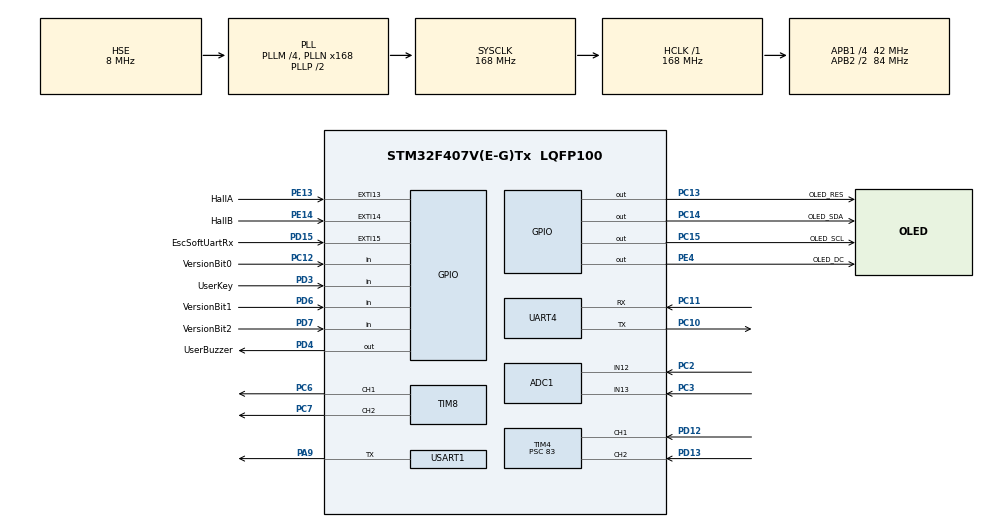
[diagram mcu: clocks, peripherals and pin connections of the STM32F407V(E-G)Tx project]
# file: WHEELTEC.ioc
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ADC1.Channel-0\#ChannelRegularConversion=ADC_CHANNEL_12
ADC1.Channel-1\#ChannelRegularConversion=ADC_CHANNEL_13
ADC1.ClockPrescaler=ADC_CLOCK_SYNC_PCLK_DIV6
ADC1.ContinuousConvMode=ENABLE
ADC1.DMAContinuousRequests=ENABLE
ADC1.NbrOfConversion=2
ADC1.NbrOfConversionFlag=1
ADC1.Rank-0\#ChannelRegularConversion=1
ADC1.Rank-1\#ChannelRegularConversion=2
ADC1.SamplingTime-0\#ChannelRegularConversion=ADC_SAMPLETIME_480CYCLES
ADC1.SamplingTime-1\#ChannelRegularConversion=ADC_SAMPLETIME_480CYCLES
ADC1.ScanConvMode=ENABLE
ADC1.master=1
Dma.ADC1.0.Direction=DMA_PERIPH_TO_MEMORY
Dma.ADC1.0.FIFOMode=DMA_FIFOMODE_DISABLE
Dma.ADC1.0.Instance=DMA2_Stream0
Dma.ADC1.0.MemDataAlignment=DMA_MDATAALIGN_HALFWORD
Dma.ADC1.0.MemInc=DMA_MINC_ENABLE
Dma.ADC1.0.Mode=DMA_CIRCULAR
Dma.ADC1.0.PeriphDataAlignment=DMA_PDATAALIGN_HALFWORD
Dma.ADC1.0.PeriphInc=DMA_PINC_DISABLE
Dma.ADC1.0.Priority=DMA_PRIORITY_LOW
Dma.Request0=ADC1
Dma.Request1=UART4_TX
Dma.Request2=USART1_TX
Dma.UART4_TX.1.Direction=DMA_MEMORY_TO_PERIPH
Dma.UART4_TX.1.FIFOMode=DMA_FIFOMODE_DISABLE
Dma.UART4_TX.1.Instance=DMA1_Stream4
Dma.UART4_TX.1.MemDataAlignment=DMA_MDATAALIGN_BYTE
Dma.UART4_TX.1.MemInc=DMA_MINC_ENABLE
Dma.UART4_TX.1.Mode=DMA_NORMAL
Dma.UART4_TX.1.PeriphDataAlignment=DMA_PDATAALIGN_BYTE
Dma.UART4_TX.1.PeriphInc=DMA_PINC_DISABLE
Dma.UART4_TX.1.Priority=DMA_PRIORITY_LOW
Dma.USART1_TX.2.Direction=DMA_MEMORY_TO_PERIPH
Dma.USART1_TX.2.FIFOMode=DMA_FIFOMODE_DISABLE
Dma.USART1_TX.2.Instance=DMA2_Stream7
Dma.USART1_TX.2.MemDataAlignment=DMA_MDATAALIGN_BYTE
Dma.USART1_TX.2.MemInc=DMA_MINC_ENABLE
Dma.USART1_TX.2.Mode=DMA_NORMAL
Dma.USART1_TX.2.PeriphDataAlignment=DMA_PDATAALIGN_BYTE
Dma.USART1_TX.2.PeriphInc=DMA_PINC_DISABLE
Dma.USART1_TX.2.Priority=DMA_PRIORITY_LOW
FREERTOS.Tasks01=InitTask,32,128,StartInitTask,Default,NULL,Dynamic,NULL,NULL
FREERTOS.configCHECK_FOR_STACK_OVERFLOW=2
FREERTOS.configENABLE_FPU=1
FREERTOS.configGENERATE_RUN_TIME_STATS=1
FREERTOS.configTOTAL_HEAP_SIZE=51200
FREERTOS.configUSE_DAEMON_TASK_STARTUP_HOOK=0
FREERTOS.configUSE_IDLE_HOOK=1
FREERTOS.configUSE_MALLOC_FAILED_HOOK=1
FREERTOS.configUSE_STATS_FORMATTING_FUNCTIONS=1
Mcu.Family=STM32F4
Mcu.Name=STM32F407V(E-G)Tx
Mcu.Package=LQFP100
NVIC.DMA1_Stream4_IRQn=true\:5\:0\:false\:false\:true\:true\:false\:true\:true
NVIC.DMA2_Stream0_IRQn=true\:5\:0\:false\:false\:true\:true\:false\:true\:true
NVIC.DMA2_Stream7_IRQn=true\:5\:0\:false\:false\:true\:true\:false\:true\:true
NVIC.EXTI15_10_IRQn=true\:4\:0\:false\:false\:true\:true\:true\:true\:true
NVIC.PriorityGroup=NVIC_PRIORITYGROUP_4
NVIC.TIM4_IRQn=true\:5\:0\:false\:false\:true\:true\:true\:true\:true
NVIC.TIM5_IRQn=true\:3\:0\:false\:false\:true\:true\:true\:true\:true
NVIC.TIM7_IRQn=true\:15\:0\:true\:false\:true\:false\:false\:true\:true
NVIC.TimeBase=TIM7_IRQn
NVIC.TimeBaseIP=TIM7
NVIC.UART4_IRQn=true\:5\:0\:false\:false\:true\:true\:true\:true\:true
NVIC.USART1_IRQn=true\:5\:0\:false\:false\:true\:true\:true\:true\:true
PA13.Mode=Serial_Wire
PA13.Signal=SYS_JTMS-SWDIO
PA14.Mode=Serial_Wire
PA14.Signal=SYS_JTCK-SWCLK
PA9.Mode=Asynchronous
PA9.Signal=USART1_TX
PC10.Mode=Asynchronous
PC10.Signal=UART4_TX
PC11.Mode=Asynchronous
PC11.Signal=UART4_RX
PC12.GPIO_Label=VersionBit0
PC12.GPIO_PuPd=GPIO_PULLUP
PC12.Signal=GPIO_Input
PC13-ANTI_TAMP.GPIO_Label=OLED_RES
PC13-ANTI_TAMP.Signal=GPIO_Output
PC14-OSC32_IN.GPIO_Label=OLED_SDA
PC14-OSC32_IN.Signal=GPIO_Output
PC15-OSC32_OUT.GPIO_Label=OLED_SCL
PC15-OSC32_OUT.Signal=GPIO_Output
PC2.Signal=ADCx_IN12
PC3.Signal=ADCx_IN13
PC6.Signal=S_TIM8_CH1
PC7.Signal=S_TIM8_CH2
PD12.Signal=S_TIM4_CH1
PD13.Signal=S_TIM4_CH2
PD15.GPIO_Label=EscSoftUartRx
PD15.GPIO_Mode=GPIO_MODE_IT_FALLING
PD15.GPIO_PuPd=GPIO_PULLUP
PD15.Signal=GPIO_EXTI15
PD3.GPIO_Label=UserKey
PD3.GPIO_PuPd=GPIO_PULLUP
PD3.Signal=GPIO_Input
PD4.GPIO_Label=UserBuzzer
PD4.PinState=GPIO_PIN_RESET
PD4.Signal=GPIO_Output
PD6.GPIO_Label=VersionBit1
PD6.GPIO_PuPd=GPIO_PULLUP
PD6.Signal=GPIO_Input
PD7.GPIO_Label=VersionBit2
PD7.GPIO_PuPd=GPIO_PULLUP
PD7.Signal=GPIO_Input
PE4.GPIO_Label=OLED_DC
PE4.Signal=GPIO_Output
PE13.GPIO_Label=HallA
PE13.GPIO_Mode=GPIO_MODE_IT_FALLING
PE13.GPIO_PuPd=GPIO_PULLUP
PE13.Signal=GPIO_EXTI13
PE14.GPIO_Label=HallB
PE14.GPIO_Mode=GPIO_MODE_IT_FALLING
PE14.GPIO_PuPd=GPIO_PULLUP
PE14.Signal=GPIO_EXTI14
PH0-OSC_IN.Mode=HSE-External-Oscillator
PH0-OSC_IN.Signal=RCC_OSC_IN
PH1-OSC_OUT.Mode=HSE-External-Oscillator
PH1-OSC_OUT.Signal=RCC_OSC_OUT
ProjectManager.HeapSize=0x200
ProjectManager.StackSize=0x400
ProjectManager.TargetToolchain=MDK-ARM V5.32
RCC.48MHZClocksFreq_Value=48000000
RCC.AHBFreq_Value=168000000
RCC.APB1CLKDivider=RCC_HCLK_DIV4
RCC.APB1Freq_Value=42000000
RCC.APB1TimFreq_Value=84000000
RCC.APB2CLKDivider=RCC_HCLK_DIV2
RCC.APB2Freq_Value=84000000
RCC.APB2TimFreq_Value=168000000
RCC.CortexFreq_Value=168000000
RCC.HCLKFreq_Value=168000000
RCC.HSE_VALUE=8000000
RCC.HSI_VALUE=16000000
RCC.LSE_VALUE=32768
RCC.PLLM=4
RCC.PLLN=168
RCC.PLLQ=7
RCC.SYSCLKFreq_VALUE=168000000
RCC.SYSCLKSource=RCC_SYSCLKSOURCE_PLLCLK
RCC.VCOOutputFreq_Value=336000000
SH.ADCx_IN12.0=ADC1_IN12,IN12
SH.ADCx_IN13.0=ADC1_IN13,IN13
SH.S_TIM4_CH1.0=TIM4_CH1,Input_Capture1_from_TI1
SH.S_TIM4_CH2.0=TIM4_CH2,Input_Capture2_from_TI2
SH.S_TIM8_CH1.0=TIM8_CH1,PWM Generation1 CH1
SH.S_TIM8_CH2.0=TIM8_CH2,PWM Generation2 CH2
TIM4.Channel-Input_Capture1_from_TI1=TIM_CHANNEL_1
TIM4.Channel-Input_Capture2_from_TI2=TIM_CHANNEL_2
TIM4.Period=9999
TIM4.Prescaler=83
TIM6.Prescaler=839
TIM8.Channel-PWM\ Generation1\ CH1=TIM_CHANNEL_1
TIM8.Channel-PWM\ Generation2\ CH2=TIM_CHANNEL_2
UART4.VirtualMode=Asynchronous
USART1.VirtualMode=VM_ASYNC
VP_FREERTOS_VS_CMSIS_V2.Mode=CMSIS_V2
VP_SYS_VS_tim7.Mode=TIM7
VP_TIM4_VS_ClockSourceINT.Mode=Internal
VP_TIM6_VS_ClockSourceINT.Mode=Enable_Timer
VP_TIM8_VS_ClockSourceINT.Mode=Internal
board=custom

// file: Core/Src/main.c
/* USER CODE BEGIN Header */
/**
  ******************************************************************************
  * @file           : main.c
  * @brief          : Main program body
  ******************************************************************************
  * @attention
  *
  * Copyright (c) 2025 STMicroelectronics.
  * All rights reserved.
  *
  * This software is licensed under terms that can be found in the LICENSE file
  * in the root directory of this software component.
  * If no LICENSE file comes with this software, it is provided AS-IS.
  *
  ******************************************************************************
  */
/* USER CODE END Header */
#include "main.h"
#include "cmsis_os.h"
#include "adc.h"
#include "dma.h"
#include "tim.h"
#include "usart.h"
#include "gpio.h"

/* USER CODE BEGIN Includes */
#include <errno.h>
#include <stdio.h>

#include "bsp_oled.h"
#include "bsp_dwt.h"
#include "bsp_adc.h"

#include "esc_telemetry_stm32.h"
#include "hall_speed.h"
#include "servo_basic_control.h"

/* USER CODE END Includes */

/* USER CODE BEGIN PV */

uint8_t rosbuffer = 0;

DebugType_t g_sys_debug = { 0 };
/* USER CODE END PV */

void SystemClock_Config(void);
void MX_FREERTOS_Init(void);
/* USER CODE BEGIN PFP */
static void App_InitRuntimeServices(void);
static pOLEDInterface_t App_InitDisplay(void);
static void App_DetectHardwareVersion(pOLEDInterface_t oled);
static void App_HandleUnknownHardware(pOLEDInterface_t oled);
static void App_StartInputInterrupts(void);

/* USER CODE END PFP */

/* USER CODE BEGIN 0 */
static void App_InitRuntimeServices(void)
{
  EscTelemetryStm32_Init();
  ServoBasic_Init();
  DWT_Init();
  HallSpeed_Init();
  ADC_Userconfig_Init();
  HAL_TIM_Base_Start(&htim6);
}

static pOLEDInterface_t App_InitDisplay(void)
{
  pOLEDInterface_t oled = &UserOLED;
  oled->init();
  return oled;
}

static void App_DetectHardwareVersion(pOLEDInterface_t oled)
{
  uint8_t version = 0U;

  version |= (uint8_t)(HAL_GPIO_ReadPin(VersionBit2_GPIO_Port, VersionBit2_Pin) << 2);
  version |= (uint8_t)(HAL_GPIO_ReadPin(VersionBit1_GPIO_Port, VersionBit1_Pin) << 1);
  version |= (uint8_t)(HAL_GPIO_ReadPin(VersionBit0_GPIO_Port, VersionBit0_Pin) << 0);

  if (version == 0U || version == 7U)
  {
    return;
  }

  App_HandleUnknownHardware(oled);
}

static void App_HandleUnknownHardware(pOLEDInterface_t oled)
{
  oled->ShowString(0, 0, "unknown hardware-version.");
  oled->ShowString(0, 35, "please reset and-retry.");
  oled->RefreshGram();

  for (;;)
  {
    HAL_GPIO_TogglePin(UserBuzzer_GPIO_Port, UserBuzzer_Pin);
    HAL_Delay(500);
  }
}

static void App_StartInputInterrupts(void)
{
  HAL_TIM_IC_Start_IT(&htim4, TIM_CHANNEL_1);
  HAL_TIM_IC_Start_IT(&htim4, TIM_CHANNEL_2);

  HAL_UART_Receive_IT(&huart4, &rosbuffer, 1);
  (void)EscTelemetryStm32_Start();
}

/* USER CODE END 0 */

int main(void)
{

  /* MCU Configuration--------------------------------------------------------*/

  /* Reset of all peripherals, Initializes the Flash interface and the Systick. */
  HAL_Init();

  /* Configure the system clock */
  SystemClock_Config();

  /* Initialize all configured peripherals */
  MX_GPIO_Init();
  MX_DMA_Init();
  MX_USART1_UART_Init();
  MX_UART4_Init();
  MX_TIM4_Init();
  MX_TIM6_Init();
  MX_ADC1_Init();
  MX_TIM8_Init();
  /* USER CODE BEGIN 2 */
  pOLEDInterface_t oled = NULL;

  App_InitRuntimeServices();
  oled = App_InitDisplay();
  App_DetectHardwareVersion(oled);
  App_StartInputInterrupts();

  /* USER CODE END 2 */

  /* Init scheduler */
  osKernelInitialize();  /* Call init function for freertos objects (in cmsis_os2.c) */
  MX_FREERTOS_Init();

  /* Start scheduler */
  osKernelStart();

  /* We should never get here as control is now taken by the scheduler */

  /* Infinite loop */
  while (1)
  {

  }
}

void SystemClock_Config(void)
{
  RCC_OscInitTypeDef RCC_OscInitStruct = {0};
  RCC_ClkInitTypeDef RCC_ClkInitStruct = {0};

  /** Configure the main internal regulator output voltage
  */
  __HAL_RCC_PWR_CLK_ENABLE();
  __HAL_PWR_VOLTAGESCALING_CONFIG(PWR_REGULATOR_VOLTAGE_SCALE1);

  /** Initializes the RCC Oscillators according to the specified parameters
  * in the RCC_OscInitTypeDef structure.
  */
  RCC_OscInitStruct.OscillatorType = RCC_OSCILLATORTYPE_HSE;
  RCC_OscInitStruct.HSEState = RCC_HSE_ON;
  RCC_OscInitStruct.PLL.PLLState = RCC_PLL_ON;
  RCC_OscInitStruct.PLL.PLLSource = RCC_PLLSOURCE_HSE;
  RCC_OscInitStruct.PLL.PLLM = 4;
  RCC_OscInitStruct.PLL.PLLN = 168;
  RCC_OscInitStruct.PLL.PLLP = RCC_PLLP_DIV2;
  RCC_OscInitStruct.PLL.PLLQ = 7;
  if (HAL_RCC_OscConfig(&RCC_OscInitStruct) != HAL_OK)
  {
    Error_Handler();
  }

  /** Initializes the CPU, AHB and APB buses clocks
  */
  RCC_ClkInitStruct.ClockType = RCC_CLOCKTYPE_HCLK|RCC_CLOCKTYPE_SYSCLK
                              |RCC_CLOCKTYPE_PCLK1|RCC_CLOCKTYPE_PCLK2;
  RCC_ClkInitStruct.SYSCLKSource = RCC_SYSCLKSOURCE_PLLCLK;
  RCC_ClkInitStruct.AHBCLKDivider = RCC_SYSCLK_DIV1;
  RCC_ClkInitStruct.APB1CLKDivider = RCC_HCLK_DIV4;
  RCC_ClkInitStruct.APB2CLKDivider = RCC_HCLK_DIV2;

  if (HAL_RCC_ClockConfig(&RCC_ClkInitStruct, FLASH_LATENCY_5) != HAL_OK)
  {
    Error_Handler();
  }
}

/* USER CODE BEGIN 4 */

UART_HandleTypeDef *DebugSerial = &huart1;

static int DebugSerial_Write(const uint8_t *data, size_t length)
{
  size_t written = 0U;

  if (data == NULL && length != 0U)
  {
    errno = EINVAL;
    return -1;
  }

  while (written < length)
  {
    size_t chunk = length - written;

    if (chunk > UINT16_MAX)
    {
      chunk = UINT16_MAX;
    }

    if (HAL_UART_Transmit(DebugSerial,
                          &data[written],
                          (uint16_t)chunk,
                          100U) != HAL_OK)
    {
      if (written == 0U)
      {
#ifdef EIO
        /* ARMCC 5 does not define the POSIX I/O error code. */
        errno = EIO;
#endif
        return -1;
      }
      break;
    }

    written += chunk;
  }

  return (int)written;
}

//printf鍑芥暟瀹炵幇
int fputc(int ch, FILE *stream)
{
  uint8_t byte = (uint8_t)ch;

  (void)stream;
  while (DebugSerial_Write(&byte, 1U) != 1)
  {
  }
  return ch;
}

#if defined(__GNUC__)
int _write(int fd, char *ptr, int len)
{
  if (fd != 1 && fd != 2)
  {
    errno = EBADF;
    return -1;
  }

  if (len < 0)
  {
    errno = EINVAL;
    return -1;
  }

  return DebugSerial_Write((const uint8_t *)ptr, (size_t)len);
}
#endif

/* USER CODE END 4 */

void HAL_TIM_PeriodElapsedCallback(TIM_HandleTypeDef *htim)
{
  if (htim->Instance == TIM7)
  {
    HAL_IncTick();
  }
}

void Error_Handler(void)
{
  __disable_irq();
  while (1)
  {
  }
}

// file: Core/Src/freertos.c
/* USER CODE BEGIN Header */
/**
  ******************************************************************************
  * File Name          : freertos.c
  * Description        : Minimal FreeRTOS application set for Ackermann-only control.
  ******************************************************************************
  */
/* USER CODE END Header */

#include "FreeRTOS.h"
#include "task.h"
#include "main.h"
#include "cmsis_os.h"

#include <stdio.h>

#include "queue.h"
#include "bsp_buzzer.h"
#include "esc_telemetry_stm32.h"
#include "servo_basic_task.h"

QueueHandle_t g_xQueueROSserial = NULL;
TaskHandle_t g_servoTaskHandle = NULL;

osThreadId_t InitTaskHandle;
const osThreadAttr_t InitTask_attributes = {
  .name = "InitTask",
  .stack_size = 128 * 4,
  .priority = (osPriority_t) osPriorityAboveNormal,
};

void show_task(void* param);
void SerialControlTask(void* param);
void RobotDataTransmitTask(void* param);

void StartInitTask(void *argument);

void MX_FREERTOS_Init(void);

__weak void configureTimerForRunTimeStats(void)
{
    TIM6->CNT = 0;
}

__weak unsigned long getRunTimeCounterValue(void)
{
    static unsigned long time = 0;
    static uint16_t lasttime = 0;
    uint16_t nowtime = TIM6->CNT;

    if (nowtime < lasttime)
    {
        time += (unsigned long)(nowtime + 0xFFFFU - lasttime);
    }
    else
    {
        time += (unsigned long)(nowtime - lasttime);
    }

    lasttime = nowtime;
    return time;
}

void vApplicationIdleHook(void)
{
}

void vApplicationStackOverflowHook(xTaskHandle xTask, signed char *pcTaskName)
{
    printf("%s stack overflow\r\n", pcTaskName);
    (void)xTask;
}

void vApplicationMallocFailedHook(void)
{
    printf("malloc failed.check heapsize\r\n");
}

void MX_FREERTOS_Init(void)
{
    BaseType_t ret;

    g_xQueueROSserial = xQueueCreate(50, sizeof(char));

    InitTaskHandle = osThreadNew(StartInitTask, NULL, &InitTask_attributes);

    /* Includes frame observation and floating-point snapshot call chains. */
    ret = xTaskCreate(ServoBasic_Task, "ServoTask", 128 * 4, NULL, osPriorityHigh, &g_servoTaskHandle);
    if (ret != pdPASS)
    {
        Error_Handler();
    }

    ret = xTaskCreate(show_task, "showTask", 128 * 4, NULL, osPriorityBelowNormal7, NULL);
    if (ret != pdPASS)
    {
        Error_Handler();
    }

    ret = xTaskCreate(SerialControlTask, "SerialConTask", 128 * 2, NULL, osPriorityNormal, NULL);
    if (ret != pdPASS)
    {
        Error_Handler();
    }

    ret = xTaskCreate(RobotDataTransmitTask, "transmit_task", 128 * 4, NULL, osPriorityNormal, NULL);
    if (ret != pdPASS)
    {
        Error_Handler();
    }

    ret = xTaskCreate(EscTelemetryTask, "escTelemTask", 128 * 2, NULL, osPriorityNormal, NULL);
    if (ret != pdPASS)
    {
        Error_Handler();
    }
}

void StartInitTask(void *argument)
{
    (void)argument;

    pBuzzerInterface_t tips = &UserBuzzer;
    tips->AddTask(1, 700);

    vTaskDelete(NULL);
}
